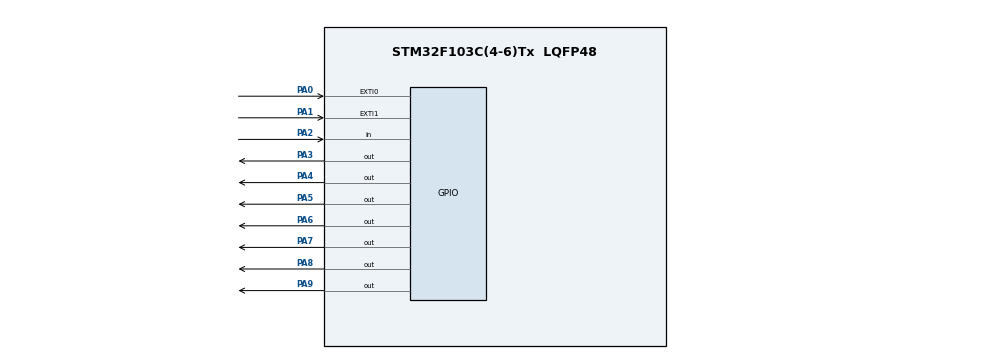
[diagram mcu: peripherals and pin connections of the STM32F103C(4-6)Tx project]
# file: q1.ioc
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Mcu.Family=STM32F1
Mcu.Name=STM32F103C(4-6)Tx
Mcu.Package=LQFP48
NVIC.EXTI0_IRQn=true\:0\:0\:false\:false\:true\:true\:true\:true
NVIC.EXTI1_IRQn=true\:0\:0\:false\:false\:true\:true\:true\:true
NVIC.PriorityGroup=NVIC_PRIORITYGROUP_4
PA0-WKUP.GPIO_ModeDefaultEXTI=GPIO_MODE_IT_FALLING
PA0-WKUP.GPIO_PuPd=GPIO_PULLUP
PA0-WKUP.Signal=GPXTI0
PA1.GPIO_ModeDefaultEXTI=GPIO_MODE_IT_FALLING
PA1.GPIO_PuPd=GPIO_PULLUP
PA1.Signal=GPXTI1
PA2.GPIO_PuPd=GPIO_PULLUP
PA2.Signal=GPIO_Input
PA3.Signal=GPIO_Output
PA4.Signal=GPIO_Output
PA5.Signal=GPIO_Output
PA6.Signal=GPIO_Output
PA7.Signal=GPIO_Output
PA8.Signal=GPIO_Output
PA9.Signal=GPIO_Output
ProjectManager.HeapSize=0x200
ProjectManager.StackSize=0x400
ProjectManager.TargetToolchain=STM32CubeIDE
RCC.APB1Freq_Value=8000000
RCC.APB2Freq_Value=8000000
board=custom

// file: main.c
/* USER CODE BEGIN Header */
/**
  ******************************************************************************
  * @file           : main.c
  * @brief          : Main program body
  ******************************************************************************
  * @attention
  *
  * Copyright (c) 2026 STMicroelectronics.
  * All rights reserved.
  *
  * This software is licensed under terms that can be found in the LICENSE file
  * in the root directory of this software component.
  * If no LICENSE file comes with this software, it is provided AS-IS.
  *
  ******************************************************************************
  */
/* USER CODE END Header */
#include "main.h"

void SystemClock_Config(void);
static void MX_GPIO_Init(void);

/* USER CODE BEGIN 0 */

uint8_t is_counting = 0; // Flag to track if the button was pressed
uint8_t counter = 0;
volatile uint8_t system_halted=0;
uint8_t numbers[10][7] = {
  {1,1,1,1,1,1,0}, // 0: Symmetric (No change)
  {0,0,0,0,1,1,0}, // 1: Lights up physical F and E (Top-Right and Bot-Right on mirror)
  {1,0,1,1,0,1,1}, // 2: Lights up A, F, G, C, D
  {1,0,0,1,1,1,1}, // 3: Lights up A, F, E, D, G
  {0,1,0,0,1,1,1}, // 4: Lights up B, F, E, G
  {1,1,0,1,1,0,1}, // 5: Lights up A, B, G, E, D
  {1,1,1,1,1,0,1}, // 6: Lights up A, B, C, D, E, G
  {1,0,0,0,1,1,0}, // 7: Lights up A, F, E
  {1,1,1,1,1,1,1}, // 8: Symmetric (No change)
  {1,1,0,1,1,1,1}  // 9: Lights up A, B, F, G, E, D
};
/* USER CODE END 0 */

int main(void)
{

  /* MCU Configuration--------------------------------------------------------*/

  /* Reset of all peripherals, Initializes the Flash interface and the Systick. */
  HAL_Init();

  /* Configure the system clock */
  SystemClock_Config();

  /* Initialize all configured peripherals */
  MX_GPIO_Init();
  /* USER CODE BEGIN 2 */
  HAL_GPIO_WritePin(GPIOA, GPIO_PIN_3, GPIO_PIN_SET);   // Segment A ON
  HAL_GPIO_WritePin(GPIOA, GPIO_PIN_4, GPIO_PIN_SET);   // Segment B ON
  HAL_GPIO_WritePin(GPIOA, GPIO_PIN_5, GPIO_PIN_SET);   // Segment C ON
  HAL_GPIO_WritePin(GPIOA, GPIO_PIN_6, GPIO_PIN_SET);   // Segment D ON
  HAL_GPIO_WritePin(GPIOA, GPIO_PIN_7, GPIO_PIN_SET);   // Segment E ON
  HAL_GPIO_WritePin(GPIOA, GPIO_PIN_8, GPIO_PIN_SET);   // Segment F ON
  HAL_GPIO_WritePin(GPIOA, GPIO_PIN_9, GPIO_PIN_RESET); // Segment G OFF
  /* USER CODE END 2 */

  /* Infinite loop */
  /* USER CODE BEGIN WHILE */
  while (1)
    {
        // 1. Read the button on PA2. If it is pressed, set the flag to 1.
	  if (system_halted==0){
        if (HAL_GPIO_ReadPin(GPIOA, GPIO_PIN_2) == GPIO_PIN_RESET) {
            is_counting = 1;
        }}

        // 2. If the flag is set, start the continuous counting process
        if (is_counting == 1) {
            // Write the array values to the 7 output pins
            HAL_GPIO_WritePin(GPIOA, GPIO_PIN_3, numbers[counter][0]); // Segment A
            HAL_GPIO_WritePin(GPIOA, GPIO_PIN_4, numbers[counter][1]); // Segment B
            HAL_GPIO_WritePin(GPIOA, GPIO_PIN_5, numbers[counter][2]); // Segment C
            HAL_GPIO_WritePin(GPIOA, GPIO_PIN_6, numbers[counter][3]); // Segment D
            HAL_GPIO_WritePin(GPIOA, GPIO_PIN_7, numbers[counter][4]); // Segment E
            HAL_GPIO_WritePin(GPIOA, GPIO_PIN_8, numbers[counter][5]); // Segment F
            HAL_GPIO_WritePin(GPIOA, GPIO_PIN_9, numbers[counter][6]); // Segment G

            // Increment the counter. If it goes past 9, reset it to 0.
            counter++;
            if (counter > 9) {
                counter = 0;
            }

            // Wait 1000 milliseconds (1 second) before looping again
            HAL_Delay(1000);
        }
    }
    /* USER CODE END WHILE */

}

void SystemClock_Config(void)
{
  RCC_OscInitTypeDef RCC_OscInitStruct = {0};
  RCC_ClkInitTypeDef RCC_ClkInitStruct = {0};

  /** Initializes the RCC Oscillators according to the specified parameters
  * in the RCC_OscInitTypeDef structure.
  */
  RCC_OscInitStruct.OscillatorType = RCC_OSCILLATORTYPE_HSI;
  RCC_OscInitStruct.HSIState = RCC_HSI_ON;
  RCC_OscInitStruct.HSICalibrationValue = RCC_HSICALIBRATION_DEFAULT;
  RCC_OscInitStruct.PLL.PLLState = RCC_PLL_NONE;
  if (HAL_RCC_OscConfig(&RCC_OscInitStruct) != HAL_OK)
  {
    Error_Handler();
  }

  /** Initializes the CPU, AHB and APB buses clocks
  */
  RCC_ClkInitStruct.ClockType = RCC_CLOCKTYPE_HCLK|RCC_CLOCKTYPE_SYSCLK
                              |RCC_CLOCKTYPE_PCLK1|RCC_CLOCKTYPE_PCLK2;
  RCC_ClkInitStruct.SYSCLKSource = RCC_SYSCLKSOURCE_HSI;
  RCC_ClkInitStruct.AHBCLKDivider = RCC_SYSCLK_DIV1;
  RCC_ClkInitStruct.APB1CLKDivider = RCC_HCLK_DIV1;
  RCC_ClkInitStruct.APB2CLKDivider = RCC_HCLK_DIV1;

  if (HAL_RCC_ClockConfig(&RCC_ClkInitStruct, FLASH_LATENCY_0) != HAL_OK)
  {
    Error_Handler();
  }
}

static void MX_GPIO_Init(void)
{
  GPIO_InitTypeDef GPIO_InitStruct = {0};

  /* GPIO Ports Clock Enable */
  __HAL_RCC_GPIOA_CLK_ENABLE();

  /*Configure GPIO pin Output Level */
  HAL_GPIO_WritePin(GPIOA, GPIO_PIN_3|GPIO_PIN_4|GPIO_PIN_5|GPIO_PIN_6
                          |GPIO_PIN_7|GPIO_PIN_8|GPIO_PIN_9, GPIO_PIN_RESET);

  /*Configure GPIO pins : PA0 PA1 */
  GPIO_InitStruct.Pin = GPIO_PIN_0|GPIO_PIN_1;
  GPIO_InitStruct.Mode = GPIO_MODE_IT_FALLING;
  GPIO_InitStruct.Pull = GPIO_PULLUP;
  HAL_GPIO_Init(GPIOA, &GPIO_InitStruct);

  /*Configure GPIO pin : PA2 */
  GPIO_InitStruct.Pin = GPIO_PIN_2;
  GPIO_InitStruct.Mode = GPIO_MODE_INPUT;
  GPIO_InitStruct.Pull = GPIO_PULLUP;
  HAL_GPIO_Init(GPIOA, &GPIO_InitStruct);

  /*Configure GPIO pins : PA3 PA4 PA5 PA6
                           PA7 PA8 PA9 */
  GPIO_InitStruct.Pin = GPIO_PIN_3|GPIO_PIN_4|GPIO_PIN_5|GPIO_PIN_6
                          |GPIO_PIN_7|GPIO_PIN_8|GPIO_PIN_9;
  GPIO_InitStruct.Mode = GPIO_MODE_OUTPUT_PP;
  GPIO_InitStruct.Pull = GPIO_NOPULL;
  GPIO_InitStruct.Speed = GPIO_SPEED_FREQ_LOW;
  HAL_GPIO_Init(GPIOA, &GPIO_InitStruct);

  /* EXTI interrupt init*/
  HAL_NVIC_SetPriority(EXTI0_IRQn, 0, 0);
  HAL_NVIC_EnableIRQ(EXTI0_IRQn);

  HAL_NVIC_SetPriority(EXTI1_IRQn, 0, 0);
  HAL_NVIC_EnableIRQ(EXTI1_IRQn);

}

/* USER CODE BEGIN 4 */
void HAL_GPIO_EXTI_Callback(uint16_t GPIO_PIN)
{
	    // Check if the interrupt was triggered by PA0
	    if (GPIO_PIN == GPIO_PIN_0) {
	    	system_halted=1;
	        is_counting = 0; // Stop the main loop from overriding the display

	        // Display "1"
	        HAL_GPIO_WritePin(GPIOA, GPIO_PIN_3, numbers[1][0]);
	        HAL_GPIO_WritePin(GPIOA, GPIO_PIN_4, numbers[1][1]);
	        HAL_GPIO_WritePin(GPIOA, GPIO_PIN_5, numbers[1][2]);
	        HAL_GPIO_WritePin(GPIOA, GPIO_PIN_6, numbers[1][3]);
	        HAL_GPIO_WritePin(GPIOA, GPIO_PIN_7, numbers[1][4]);
	        HAL_GPIO_WritePin(GPIOA, GPIO_PIN_8, numbers[1][5]);
	        HAL_GPIO_WritePin(GPIOA, GPIO_PIN_9, numbers[1][6]);
	    }

	    // Check if the interrupt was triggered by PA1
	    else if (GPIO_PIN == GPIO_PIN_1) {
	    	system_halted=1;
	        is_counting = 0; // Stop the main loop

	        // Display "9"
	        HAL_GPIO_WritePin(GPIOA, GPIO_PIN_3, numbers[9][0]);
	        HAL_GPIO_WritePin(GPIOA, GPIO_PIN_4, numbers[9][1]);
	        HAL_GPIO_WritePin(GPIOA, GPIO_PIN_5, numbers[9][2]);
	        HAL_GPIO_WritePin(GPIOA, GPIO_PIN_6, numbers[9][3]);
	        HAL_GPIO_WritePin(GPIOA, GPIO_PIN_7, numbers[9][4]);
	        HAL_GPIO_WritePin(GPIOA, GPIO_PIN_8, numbers[9][5]);
	        HAL_GPIO_WritePin(GPIOA, GPIO_PIN_9, numbers[9][6]);
	    }
	}

/* USER CODE END 4 */

void Error_Handler(void)
{
  __disable_irq();
  while (1)
  {
  }
}
